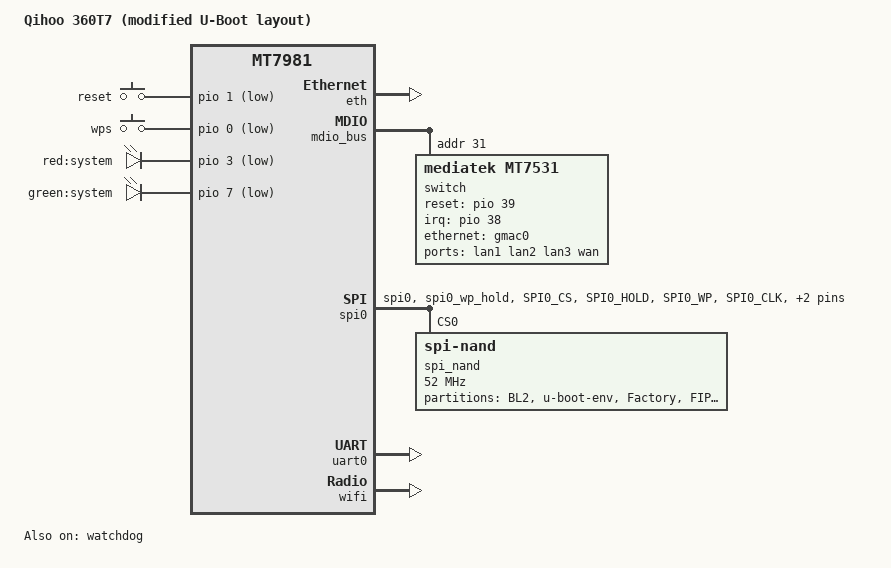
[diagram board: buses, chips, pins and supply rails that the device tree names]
// SPDX-License-Identifier: GPL-2.0-or-later OR MIT

/dts-v1/;
#include <dt-bindings/gpio/gpio.h>
#include <dt-bindings/input/input.h>

#include "mt7981.dtsi"

/ {
	model = "Qihoo 360T7 (modified U-Boot layout)";
	compatible = "qihoo,360t7-ubootmod", "mediatek,mt7981";


	aliases {
		led-boot = &red_led;
		led-failsafe = &red_led;
		led-running = &green_led;
		led-upgrade = &green_led;
		serial0 = &uart0;
	};

	chosen {
		stdout-path = "serial0:115200n8";
	};

	gpio-keys {
		compatible = "gpio-keys";

		button-reset {
			label = "reset";
			linux,code = <KEY_RESTART>;
			gpios = <&pio 1 GPIO_ACTIVE_LOW>;
		};

		button-wps {
			label = "wps";
			linux,code = <KEY_WPS_BUTTON>;
			gpios = <&pio 0 GPIO_ACTIVE_LOW>;
		};
	};

	gpio-leds {
		compatible = "gpio-leds";

		red_led: led-0 {
			label = "red:system";
			gpios = <&pio 3 GPIO_ACTIVE_LOW>;
		};

		green_led: led-1 {
			label = "green:system";
			gpios = <&pio 7 GPIO_ACTIVE_LOW>;
		};
	};
};

&eth {
	pinctrl-names = "default";
	pinctrl-0 = <&mdio_pins>;

	status = "okay";

	gmac0: mac@0 {
		compatible = "mediatek,eth-mac";
		reg = <0>;
		phy-mode = "2500base-x";

		nvmem-cells = <&macaddr_factory_14>;
		nvmem-cell-names = "mac-address-ascii";

		fixed-link {
			speed = <2500>;
			full-duplex;
			pause;
		};
	};
};

&mdio_bus {
	switch: switch@0 {
		compatible = "mediatek,mt7531";
		reg = <31>;
		reset-gpios = <&pio 39 GPIO_ACTIVE_HIGH>;
		interrupt-controller;
		#interrupt-cells = <1>;
		interrupt-parent = <&pio>;
		interrupts = <38 IRQ_TYPE_LEVEL_HIGH>;
	};
};

&spi0 {
	pinctrl-names = "default";
	pinctrl-0 = <&spi0_flash_pins>;
	status = "okay";

	spi_nand: flash@0 {
		#address-cells = <1>;
		#size-cells = <1>;
		compatible = "spi-nand";
		reg = <0>;
		spi-max-frequency = <52000000>;

		spi-cal-enable;
		spi-cal-mode = "read-data";
		spi-cal-datalen = <7>;
		spi-cal-data = /bits/ 8 <0x53 0x50 0x49 0x4E 0x41 0x4E 0x44>;
		spi-cal-addrlen = <5>;
		spi-cal-addr = /bits/ 32 <0x0 0x0 0x0 0x0 0x0>;

		spi-tx-buswidth = <4>;
		spi-rx-buswidth = <4>;
		mediatek,nmbm;
		mediatek,bmt-max-ratio = <1>;
		mediatek,bmt-max-reserved-blocks = <64>;

		partitions {
			compatible = "fixed-partitions";
			#address-cells = <1>;
			#size-cells = <1>;

			partition@0 {
				label = "BL2";
				reg = <0x00000 0x100000>;
			};

			partition@100000 {
				label = "u-boot-env";
				reg = <0x100000 0x80000>;
			};

			factory: partition@180000 {
				label = "Factory";
				reg = <0x180000 0x200000>;
			};

			partition@380000 {
				label = "FIP";
				reg = <0x380000 0x200000>;
			};

			partition@580000 {
				label = "ubi";
				reg = <0x580000 0x6c00000>;
			};

			partition@7180000 {
				label = "stock-config";
				reg = <0x7180000 0x100000>;
				read-only;
			};

			partition@7280000 {
				label = "stock-factory";
				reg = <0x7280000 0x80000>;
				read-only;

				compatible = "nvmem-cells";
				#address-cells = <1>;
				#size-cells = <1>;

				macaddr_factory_14: macaddr@14 {
					reg = <0x14 0x11>;
				};

			};

			partition@7300000 {
				label = "stock-log";
				reg = <0x7300000 0x400000>;
				read-only;
			};
		};
	};
};

&switch {
	ports {
		#address-cells = <1>;
		#size-cells = <0>;

		port@0 {
			reg = <0>;
			label = "lan1";
		};

		port@1 {
			reg = <1>;
			label = "lan2";
		};

		port@2 {
			reg = <2>;
			label = "lan3";
		};

		port@3 {
			reg = <3>;
			label = "wan";

			nvmem-cells = <&macaddr_factory_14>;
			nvmem-cell-names = "mac-address-ascii";
			mac-address-increment = <1>;
		};

		port@6 {
			reg = <6>;
			ethernet = <&gmac0>;
			phy-mode = "2500base-x";

			fixed-link {
				speed = <2500>;
				full-duplex;
				pause;
			};
		};
	};
};

&pio {
	spi0_flash_pins: spi0-pins {
		mux {
			function = "spi";
			groups = "spi0", "spi0_wp_hold";
		};

		conf-pu {
			pins = "SPI0_CS", "SPI0_HOLD", "SPI0_WP";
			drive-strength = <8>;
			bias-pull-up = <103>;
		};

		conf-pd {
			pins = "SPI0_CLK", "SPI0_MOSI", "SPI0_MISO";
			drive-strength = <8>;
			bias-pull-down = <103>;
		};
	};
};

&uart0 {
	status = "okay";
};

&watchdog {
	status = "okay";
};

&wifi {
	status = "okay";

	mediatek,mtd-eeprom = <&factory 0x0>;

	nvmem-cells = <&macaddr_factory_14>;
	nvmem-cell-names = "mac-address-ascii";
	mac-address-increment = <2>;
};
